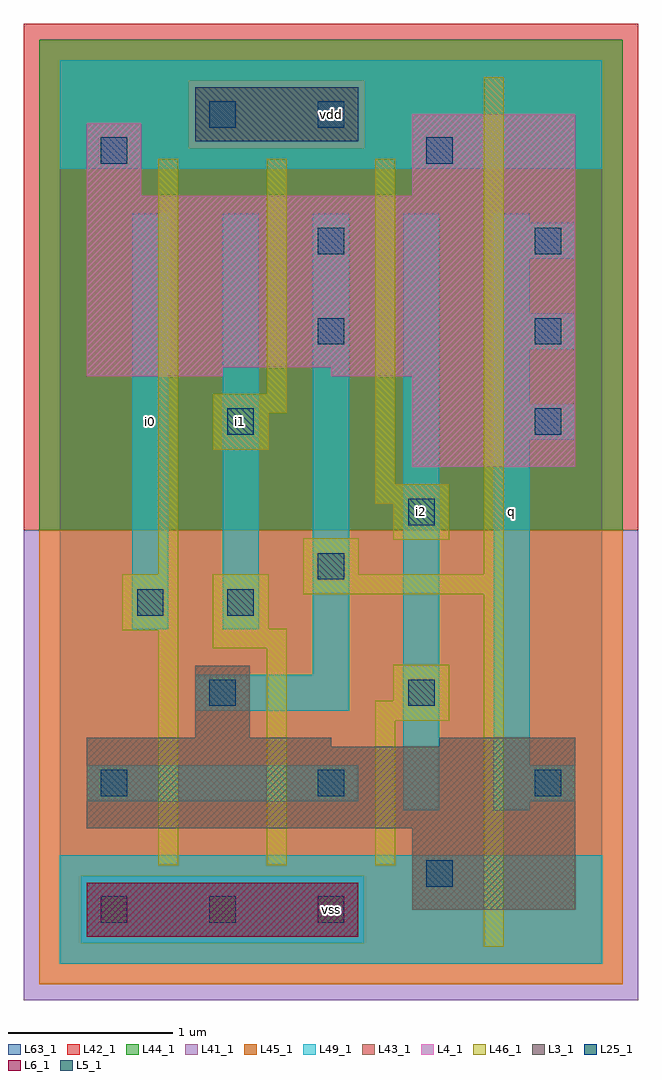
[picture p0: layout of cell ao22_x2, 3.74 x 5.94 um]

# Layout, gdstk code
import gdstk
lib = gdstk.Library(unit=1e-6, precision=1e-09)
def R(c, l, rs):  # rectangles x0, y0, x1, y1
    for r in rs: c.add(gdstk.rectangle(r[:2], r[2:], *l))
def A(c, l, x, y, w, h, nx, ny, dx, dy):  # array of equal rectangles
    R(c, l, [(x+i*dx, y+j*dy, x+i*dx+w, y+j*dy+h) for i in range(nx) for j in range(ny)])
L3_1 = (3, 1)
L4_1 = (4, 1)
L5_1 = (5, 1)
L6_1 = (6, 1)
L25_1 = (25, 1)
L41_1 = (41, 1)
L42_1 = (42, 1)
L43_1 = (43, 1)
L44_1 = (44, 1)
L45_1 = (45, 1)
L46_1 = (46, 1)
L49_1 = (49, 1)
L63_1 = (63, 1)

ao22_x2 = lib.new_cell('ao22_x2')
R(ao22_x2, L3_1, [(2.145,0.33,3.135,0.825), (0.165,0.825,3.135,1.32), (0.165,1.32,1.65,1.375), (2.31,1.32,3.135,1.375), (0.825,1.375,1.155,1.815)])
R(ao22_x2, L4_1, [(2.145,3.025,3.135,3.575), (0.165,3.575,0.99,3.63), (1.65,3.575,3.135,3.63), (0.165,3.63,3.135,4.675), (0.165,4.675,0.495,5.115), (2.145,4.675,3.135,5.17)])
R(ao22_x2, L5_1, [(0.825,5.005,1.815,5.335)])
R(ao22_x2, L6_1, [(0.165,0.165,1.815,0.495)])
A(ao22_x2, L25_1, 0.25, 0.25, 0.16, 0.16, 3, 1, 0.66, 0)
A(ao22_x2, L25_1, 0.25, 1.02, 0.16, 0.16, 3, 1, 1.32, 0)
A(ao22_x2, L25_1, 2.89, 3.22, 0.16, 0.16, 1, 3, 0, 0.55)
R(ao22_x2, L25_1, [(2.23,0.47,2.39,0.63), (0.91,1.57,1.07,1.73), (2.12,1.57,2.28,1.73), (0.47,2.12,0.63,2.28), (1.02,2.12,1.18,2.28), (1.57,2.34,1.73,2.5), (2.12,2.67,2.28,2.83), (1.02,3.22,1.18,3.38), (1.57,3.77,1.73,3.93), (1.57,4.32,1.73,4.48), (0.25,4.87,0.41,5.03), (2.23,4.87,2.39,5.03), (0.91,5.09,1.07,5.25), (1.57,5.09,1.73,5.25)])
R(ao22_x2, L41_1, [(-0.22,-0.22,3.52,2.64)])
R(ao22_x2, L42_1, [(-0.22,2.64,3.52,5.72)])
R(ao22_x2, L43_1, [(0.165,0.165,1.815,0.495), (2.145,0.33,3.135,0.825), (0.165,0.825,3.135,1.32), (0.165,1.32,1.65,1.375), (2.31,1.32,3.135,1.375), (0.825,1.375,1.155,1.815), (2.145,3.025,3.135,3.575), (0.165,3.575,0.99,3.63), (1.65,3.575,3.135,3.63), (0.165,3.63,3.135,4.675), (0.165,4.675,0.495,5.115), (2.145,4.675,3.135,5.17), (0.825,5.005,1.815,5.335)])
R(ao22_x2, L44_1, [(0.125,0.125,1.855,0.535), (-0.125,2.64,3.425,4.965), (-0.125,4.965,0.785,5.375), (1.855,4.965,3.425,5.375), (-0.125,5.375,3.425,5.625)])
R(ao22_x2, L45_1, [(-0.125,-0.125,3.425,0.125), (-0.125,0.125,0.125,0.535), (1.855,0.125,3.425,0.535), (-0.125,0.535,3.425,2.64), (0.785,4.965,1.855,5.375)])
R(ao22_x2, L46_1, [(2.58,0.105,2.7,2.25), (0.6,0.6,0.72,2.03), (1.26,0.6,1.38,1.92), (1.92,0.6,2.04,1.48), (1.92,1.48,2.37,1.6), (2.03,1.6,2.37,1.82), (0.93,1.92,1.38,2.04), (0.38,2.03,0.72,2.37), (0.93,2.04,1.27,2.37), (1.48,2.25,2.7,2.37), (0.6,2.37,0.72,4.9), (1.48,2.37,1.82,2.59), (2.58,2.37,2.7,5.395), (2.03,2.58,2.37,2.8), (1.92,2.8,2.37,2.92), (1.92,2.92,2.04,4.9), (0.93,3.13,1.27,3.35), (0.93,3.35,1.38,3.47), (1.26,3.47,1.38,4.9)])
A(ao22_x2, L49_1, 2.64, 3.19, 0.495, 0.22, 1, 3, 0, 0.55)
R(ao22_x2, L49_1, [(0,0,3.3,0.66), (2.09,0.935,2.31,4.565), (2.64,0.935,2.86,0.99), (0.165,0.99,1.815,1.21), (2.64,0.99,3.135,1.21), (2.64,1.21,2.86,3.19), (0.825,1.54,1.76,1.76), (1.54,1.76,1.76,4.565), (0.44,2.035,0.66,4.565), (0.99,2.035,1.21,4.565), (2.64,3.41,2.86,3.74), (2.64,3.96,2.86,4.29), (2.64,4.51,2.86,4.565), (0,4.84,3.3,5.5)])
R(ao22_x2, L63_1, [(0,0,3.3,5.5)])
ao22_x2.add(gdstk.Label('i0', (0.55,3.3), layer=49, texttype=1))
ao22_x2.add(gdstk.Label('i1', (1.1,3.3), layer=49, texttype=1))
ao22_x2.add(gdstk.Label('vss', (1.65,0.33), layer=49, texttype=1))
ao22_x2.add(gdstk.Label('i2', (2.2,2.75), layer=49, texttype=1))
ao22_x2.add(gdstk.Label('vdd', (1.65,5.17), layer=49, texttype=1))
ao22_x2.add(gdstk.Label('q', (2.75,2.75), layer=49, texttype=1))

lib.write_gds('ao22_x2.gds')
